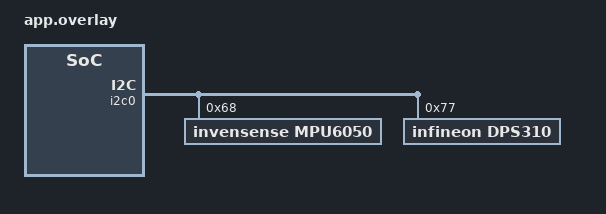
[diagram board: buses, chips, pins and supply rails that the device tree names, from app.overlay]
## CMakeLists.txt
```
cmake_minimum_required(VERSION 3.20.0)
find_package(Zephyr REQUIRED HINTS $ENV{ZEPHYR_BASE})

project(nrf528-development)

target_sources(app PRIVATE src/main.c)
```

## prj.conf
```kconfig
# Enable Bluetooth subsystem
CONFIG_BT=y
CONFIG_BT_PERIPHERAL=y
# Change this string to force your iPhone to overwrite its cache
CONFIG_BT_DEVICE_NAME="GreenCaddie Pro"

# Force high-throughput connection parameter intervals
CONFIG_BT_PERIPHERAL_PREF_MIN_INT=12
CONFIG_BT_PERIPHERAL_PREF_MAX_INT=24
CONFIG_BT_PERIPHERAL_PREF_LATENCY=0
CONFIG_BT_PERIPHERAL_PREF_TIMEOUT=400

# Expand the maximum allowed concurrent L2CAP and ATT transmit packet allocations
CONFIG_BT_L2CAP_TX_BUF_COUNT=10
CONFIG_BT_BUF_ACL_TX_COUNT=10

# Increase Event RX buffer count to satisfy the compiler build assertions
CONFIG_BT_BUF_EVT_RX_COUNT=11

# Increase the overall Network Buffer pool count to support continuous high-rate notifications
CONFIG_BT_CONN_TX_MAX=10

# Enable I2C and Sensor Framework APIs
CONFIG_I2C=y
CONFIG_SENSOR=y

# Enable DPS310 Sensor Driver
CONFIG_DPS310=y

# Allow sprintf/snprintk to convert floats into printable strings
CONFIG_CBPRINTF_FP_SUPPORT=y
```

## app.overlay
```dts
&i2c0 {
    status = "okay";

    /* Ensure your existing MPU6050 address configuration stays active */
    mpu6050@68 {
        compatible = "invensense,mpu6050";
        reg = <0x68>;
    };

    /* FIX: This maps the hardware identifier so DEVICE_DT_GET_ONE resolves safely */
    dps310@77 {
        compatible = "infineon,dps310";
        reg = <0x77>; /* 0x77 is standard default. Change to 0x76 if SDO pin is tied low */
        status = "okay";
    };
};
```

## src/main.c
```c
#include <zephyr/types.h>
#include <stddef.h>
#include <string.h>
#include <errno.h>
#include <zephyr/sys/printk.h>
#include <zephyr/kernel.h>
#include <zephyr/device.h>
#include <zephyr/drivers/sensor.h>

#include <zephyr/bluetooth/bluetooth.h>
#include <zephyr/bluetooth/hci.h>
#include <zephyr/bluetooth/conn.h>
#include <zephyr/bluetooth/uuid.h>
#include <zephyr/bluetooth/gatt.h>

/* Custom LBS UUID definitions */
static struct bt_uuid_128 lbs_uuid = BT_UUID_INIT_128(
	BT_UUID_128_ENCODE(0x00001523, 0x1212, 0xefde, 0x1523, 0x785feabcd123)
);

static struct bt_uuid_128 lbs_char_uuid = BT_UUID_INIT_128(
	BT_UUID_128_ENCODE(0x00001524, 0x1212, 0xefde, 0x1523, 0x785feabcd123)
);

static char rx_buffer[64];
static struct bt_conn *current_conn;
static bool notifications_enabled;

/* FIX: Compact 10-byte data payload structure definition */
struct __attribute__((packed)) sensor_payload_t {
	int16_t x;     // Accel X (scaled by 10)
	int16_t y;     // Accel Y (scaled by 10)
	int16_t z;     // Accel Z (scaled by 10)
	int16_t press; // Pressure offset (scaled by 10)
	int16_t temp;  // Temperature (scaled by 10)
};

static struct sensor_payload_t tx_data;

static void lbs_ccc_cfg_changed(const struct bt_gatt_attr *attr, uint16_t value)
{
	notifications_enabled = (value == BT_GATT_CCC_NOTIFY);
	printk("Notifications %s\n", notifications_enabled ? "enabled" : "disabled");
}

static ssize_t write_lbs_char(struct bt_conn *conn, const struct bt_gatt_attr *attr,
			     const void *buf, uint16_t len, uint16_t offset, uint8_t flags)
{
	if (offset + len > sizeof(rx_buffer) - 1) {
		return BT_GATT_ERR(BT_ATT_ERR_INVALID_OFFSET);
	}
	memcpy(rx_buffer + offset, buf, len);
	rx_buffer[offset + len] = '\0';
	return len;
}

static ssize_t read_lbs_char(struct bt_conn *conn, const struct bt_gatt_attr *attr,
			    void *buf, uint16_t len, uint16_t offset)
{
	return bt_gatt_attr_read(conn, attr, buf, len, offset, &tx_data, sizeof(tx_data));
}

BT_GATT_SERVICE_DEFINE(lbs_svc,
	BT_GATT_PRIMARY_SERVICE(&lbs_uuid.uuid),
	BT_GATT_CHARACTERISTIC(&lbs_char_uuid.uuid,
			       BT_GATT_CHRC_READ | BT_GATT_CHRC_WRITE | BT_GATT_CHRC_NOTIFY,
			       BT_GATT_PERM_READ | BT_GATT_PERM_WRITE,
			       read_lbs_char, write_lbs_char, &tx_data),
	BT_GATT_CCC(lbs_ccc_cfg_changed, BT_GATT_PERM_READ | BT_GATT_PERM_WRITE),
);

static const struct bt_data ad[] = {
	BT_DATA_BYTES(BT_DATA_FLAGS, (BT_LE_AD_GENERAL | BT_LE_AD_NO_BREDR)),
	BT_DATA_BYTES(BT_DATA_UUID128_ALL, 
		0x23, 0xd1, 0xbc, 0xea, 0x5f, 0x78, 0x23, 0x15, 
		0xde, 0xef, 0x12, 0x12, 0x23, 0x15, 0x00, 0x00),
};

static const struct bt_data sd[] = {
	BT_DATA(BT_DATA_NAME_COMPLETE, CONFIG_BT_DEVICE_NAME, sizeof(CONFIG_BT_DEVICE_NAME) - 1),
};

static void connected(struct bt_conn *conn, uint8_t err) {
	if (!err) {
		current_conn = bt_conn_ref(conn);
	}
}

static void disconnected(struct bt_conn *conn, uint8_t reason) {
	if (current_conn) {
		bt_conn_unref(current_conn);
		current_conn = NULL;
	}
	notifications_enabled = false;
}

BT_CONN_CB_DEFINE(conn_callbacks) = {
	.connected = connected,
	.disconnected = disconnected,
};

int send_sensor_notification(const void *data, uint16_t len)
{
	if (!current_conn || !notifications_enabled) {
		return -EACCES;
	}
	return bt_gatt_notify(current_conn, &lbs_svc.attrs[1], data, len);
}

int main(void)
{
	k_sleep(K_MSEC(500));
	const struct device *const mpu6050 = DEVICE_DT_GET_ONE(invensense_mpu6050);
	const struct device *const dps310  = DEVICE_DT_GET_ONE(infineon_dps310);

	if (bt_enable(NULL) || !device_is_ready(mpu6050) || !device_is_ready(dps310)) {
		return 0;
	}

	struct bt_le_adv_param adv_param = {
		.options = BT_LE_ADV_OPT_CONN,
		.interval_min = BT_GAP_ADV_FAST_INT_MIN_2,
		.interval_max = BT_GAP_ADV_FAST_INT_MAX_2,
	};
	bt_le_adv_start(&adv_param, ad, ARRAY_SIZE(ad), sd, ARRAY_SIZE(sd));

	while (1) {
		k_sleep(K_MSEC(250));

		if (notifications_enabled) {
			struct sensor_value accel_x = {0}, accel_y = {0}, accel_z = {0};
			struct sensor_value pressure = {0}, temperature = {0};

			if (sensor_sample_fetch(mpu6050) == 0) {
				sensor_channel_get(mpu6050, SENSOR_CHAN_ACCEL_X, &accel_x);
				sensor_channel_get(mpu6050, SENSOR_CHAN_ACCEL_Y, &accel_y);
				sensor_channel_get(mpu6050, SENSOR_CHAN_ACCEL_Z, &accel_z);
                                printk("accel_x = %f\n", sensor_value_to_double(&accel_x) * 10.0);
			}
			if (sensor_sample_fetch(dps310) == 0) {
				sensor_channel_get(dps310, SENSOR_CHAN_PRESS, &pressure);
				int temp_read = sensor_channel_get(dps310, SENSOR_CHAN_AMBIENT_TEMP, &temperature);
                                if (temp_read < 0) {
                                        printk("DPS310 Temp Read Failure!\n");
                                }
                                printk("pressure = %f\n", (sensor_value_to_double(&pressure) - 101.3) * 100.0);
                                printk("temperature = %f\n", sensor_value_to_double(&temperature) * 10.0);
			}

			// Pack bits securely to stay below 20-byte BLE MTU bounds
			tx_data.x = (int16_t)(sensor_value_to_double(&accel_x) * 10.0);
			tx_data.y = (int16_t)(sensor_value_to_double(&accel_y) * 10.0);
			tx_data.z = (int16_t)(sensor_value_to_double(&accel_z) * 10.0);
			// Subtract standard sea-level baseline pressure (101.3 kPa) to fit int16 range safely
			tx_data.press = (int16_t)((sensor_value_to_double(&pressure) - 101.3) * 100.0);
			tx_data.temp = (int16_t)(sensor_value_to_double(&temperature) * 10.0);

			int err = send_sensor_notification(&tx_data, sizeof(tx_data));
			if (!err) {
				printk("Binary Frame Sent Successfully\n");
			}
		}
	}
	return 0;
}
```
